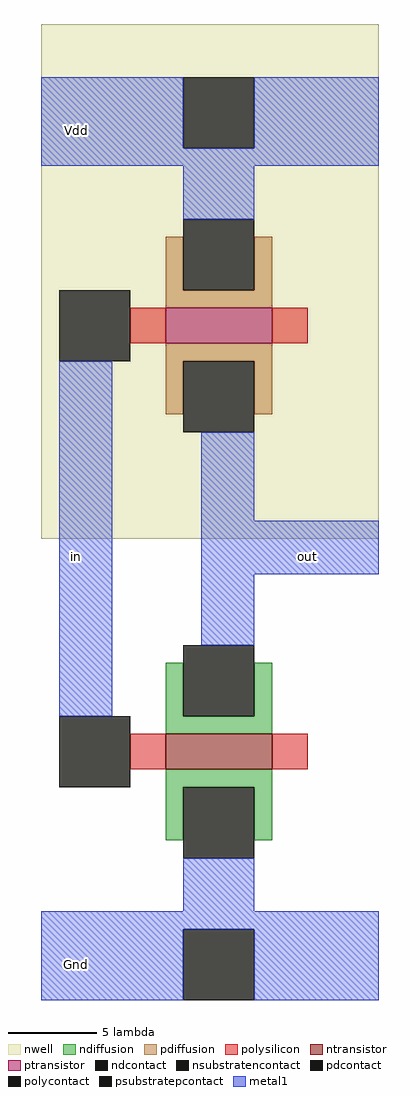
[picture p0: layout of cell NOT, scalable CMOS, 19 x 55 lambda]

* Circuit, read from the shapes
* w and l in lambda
.subckt NOT Gnd Vdd in out
M1 out in Gnd Gnd nfet w=6 l=2
M2 Vdd in out Vdd pfet w=6 l=2
.ends

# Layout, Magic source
magic
tech scmos
<< nwell >>
rect -7 11 12 40
<< ntransistor >>
rect 0 -2 6 0
<< ptransistor >>
rect 0 22 6 24
<< ndiffusion >>
rect 0 1 1 4
rect 5 1 6 4
rect 0 0 6 1
rect 0 -3 6 -2
rect 0 -6 1 -3
rect 5 -6 6 -3
<< pdiffusion >>
rect 0 25 1 28
rect 5 25 6 28
rect 0 24 6 25
rect 0 21 6 22
rect 0 18 1 21
rect 5 18 6 21
<< ndcontact >>
rect 1 1 5 5
rect 1 -7 5 -3
<< pdcontact >>
rect 1 25 5 29
rect 1 17 5 21
<< psubstratepcontact >>
rect 1 -15 5 -11
<< nsubstratencontact >>
rect 1 33 5 37
<< polysilicon >>
rect -2 22 0 24
rect 6 22 8 24
rect -2 -2 0 0
rect 6 -2 8 0
<< polycontact >>
rect -6 21 -2 25
rect -6 -3 -2 1
<< metal1 >>
rect -7 33 1 37
rect 5 33 12 37
rect -7 32 12 33
rect 1 29 5 32
rect -6 1 -3 21
rect 2 12 5 17
rect 2 9 12 12
rect 2 5 5 9
rect 1 -10 5 -7
rect -7 -11 12 -10
rect -7 -15 1 -11
rect 5 -15 12 -11
<< labels >>
rlabel metal1 -5 10 -5 10 1 in
rlabel metal1 8 10 8 10 1 out
rlabel metal1 -5 -13 -5 -13 2 Gnd
rlabel metal1 -5 34 -5 34 3 Vdd
<< end >>
